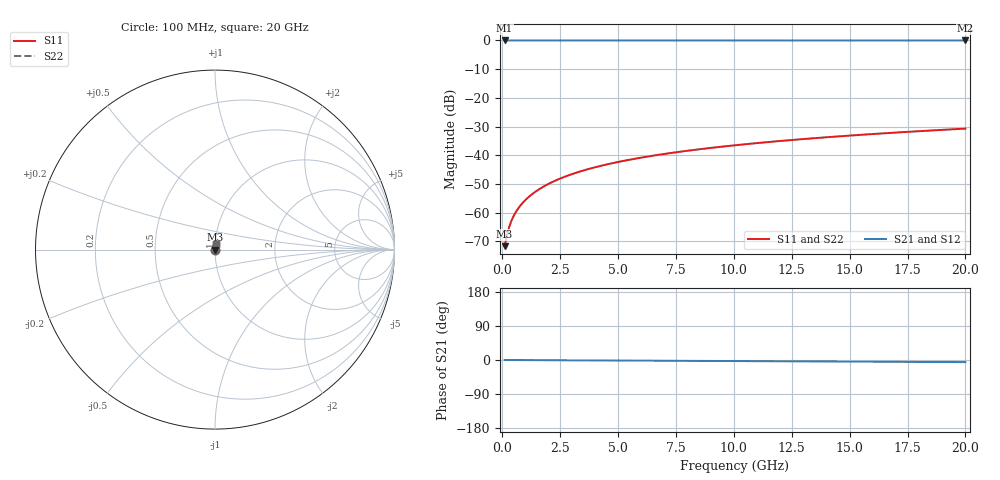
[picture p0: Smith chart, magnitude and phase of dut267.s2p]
! Touchstone file exported from HFSS 2026.1.0
!  File:  C:/ffzhzh/LocalFiles/Ansys_Project_Files/temp_train_TSV_267_1782993236_41620.aedt
!  Generated:  07:55:26 PM Jul  2, 2026
!  Design:  TSV
!  Project:  temp_train_TSV_267_1782993236_41620
! Variables:
!  h_bsmrdl = 2um
!  h_ox = 20um
!  h_rdl = 5um
!  h_sub = 50.45um
!  h_tmrdl = 5um
!  h_tsv = 50.45um
!  h_via = 3um
!  l_bsmrdl = 300um
!  l_sub = 412.28um
!  l_tmrdl = 200um
!  m_sub = 200um
!  pitch = 36.14um
!  r_tsv = 6.14um
!  s_tmrdl = 10um
!  w_bsmrdl = 18um
!  w_sub = 500um
!  w_tmrdl = 12um
!  x_tsv_center1 = 206um
!  x_tsv_center2 = 524um
!  x_tsv_center3 = 736um
!  x_tsv_center4 = 1054um
!  x_tsv_center5 = 1266um
!  x_tsv_center6 = 1584um
# GHz S MA R 50.000000
! Terminal data exported
! Port[1] = TSV1_1_T1
! Port[2] = TSV1_1_T2
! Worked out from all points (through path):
!   200 points, 100 MHz to 20 GHz, reference 50 ohm
!   highest |S21| = 0.00 dB at 100 MHz (marker M1); lowest = 0.0 dB at 20 GHz (marker M2)
!   lowest |S11| = -71.6 dB at 100 MHz (marker M3), VSWR 1.00, Z = 50 + j0.0179 ohm
!   |S11| at or under -10 dB: start of sweep to end of sweep
!   |S22| runs from -71.6 to -30.7 dB; largest |S21 - S12| = 5.6e-15
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0.1  0.0002615 43.3  0.9998 -0.0  0.9998 -0.0  0.0002615 43.3
! Gamma 0 0 0 0
! Port Impedance 50 0 50 0
0.2  0.0004085 60.6  0.9998 -0.1  0.9998 -0.1  0.0004085 60.6
0.3  0.0005702 67.9  0.9998 -0.1  0.9998 -0.1  0.0005702 67.9
0.4  0.0007329 71.6  0.9998 -0.1  0.9998 -0.1  0.0007329 71.6
0.5  0.0008935 73.8  0.9998 -0.1  0.9998 -0.1  0.0008935 73.8
0.6  0.001052 75.4  0.9997 -0.2  0.9997 -0.2  0.001052 75.4
0.7  0.001207 76.5  0.9997 -0.2  0.9997 -0.2  0.001207 76.5
0.8  0.001362 77.5  0.9997 -0.2  0.9997 -0.2  0.001362 77.5
1  0.001668 78.9  0.9997 -0.3  0.9997 -0.3  0.001668 78.9
1.4  0.002275 80.7  0.9996 -0.4  0.9996 -0.4  0.002275 80.7
1.7  0.00273 81.6  0.9996 -0.5  0.9996 -0.5  0.00273 81.6
2  0.003184 82.3  0.9996 -0.6  0.9996 -0.6  0.003184 82.3
2.7  0.00424 83.1  0.9995 -0.8  0.9995 -0.8  0.00424 83.1
3.5  0.005438 83.6  0.9995 -1.0  0.9995 -1.0  0.005438 83.6
4.2  0.006475 83.8  0.9994 -1.2  0.9994 -1.2  0.006475 83.8
5  0.007652 83.9  0.9993 -1.4  0.9993 -1.4  0.007652 83.9
6.8  0.01027 84.0  0.9992 -1.9  0.9992 -1.9  0.01027 84.0
8.3  0.01244 83.9  0.9991 -2.4  0.9991 -2.4  0.01244 83.9
10.1  0.01503 83.7  0.999 -2.9  0.999 -2.9  0.01503 83.7
13.4  0.01976 83.3  0.9988 -3.8  0.9988 -3.8  0.01976 83.3
16.7  0.02447 82.6  0.9986 -4.7  0.9986 -4.7  0.02447 82.6
20  0.02914 81.9  0.9983 -5.6  0.9983 -5.6  0.02914 81.9
